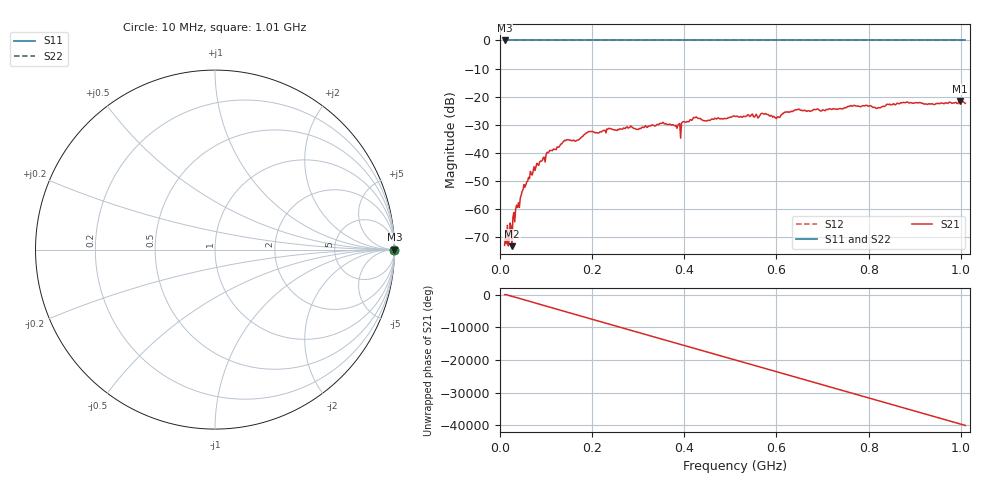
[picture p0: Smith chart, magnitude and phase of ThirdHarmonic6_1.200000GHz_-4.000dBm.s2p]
! 8/16/2025 12:24:41 PM
! C:\ANRITSUVNA\TEMP\TEMP.S2P
! CHANNEL.1
! TR.MEASUREMENT
! RAW.DATA
! RF.CORRECTION.OFF
! AVERAGING.OFF
! IF.BANDWIDTH: 5KHZ
! SWEEPTYPE:  FREQ.SWEEP(Linear)
! Reference Plane Port Info
! PORT:  PORT1  PORT2
! DISTANCE:  0  m  0  m
! TIME:  0  s  0  s
! PHASE.OFFSET:  0  deg.  0  deg.
! LOSS:  0  dB  0  dB
! REF.LOSS:  0  dB  0  dB
! REF.FREQ:  0  Hz  0  Hz
! Power Info
! POWER:  -20  dBm  -20  dBm
! EFF.POWER:  -20  dBm  -20  dBm
! SOURCE.ATTEN:  0  dB  0  dB
! TEST.ATTEN:  0  dB  0  dB
# GHZ S RI R 50.0
! FREQ.GHZ  S11RE  S11IM  S21RE  S21IM  S12RE  S12IM  S22RE  S22IM
!; PortSelection: Port_12
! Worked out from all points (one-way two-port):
!   501 points, 10 MHz to 1.01 GHz, reference 50 ohm
!   highest |S21| = -21.52 dB at 998 MHz (marker M1); lowest = -73.2 dB at 26 MHz (marker M2)
!   lowest |S11| = 0.0 dB at 10 MHz (marker M3)
!   |S11| at or under -10 dB: nowhere
!   |S22| runs from 0.0 to 0.0 dB; largest |S21 - S12| = 1.1
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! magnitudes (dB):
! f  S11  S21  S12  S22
! 10 MHz  0.0  -72.9  0.0  0.0
! 20 MHz  0.0  -70.5  0.0  0.0
! 22 MHz  0.0  -64.9  0.0  0.0
! 26 MHz  0.0  -73.2  0.0  0.0
! 48 MHz  0.0  -53.7  0.0  0.0
! 78 MHz  0.0  -45.0  0.0  0.0
! 104 MHz  0.0  -39.9  0.0  0.0
! 140 MHz  0.0  -35.5  0.0  0.0
! 178 MHz  0.0  -34.2  0.0  0.0
! 196 MHz  0.0  -32.4  0.0  0.0
! 344 MHz  0.0  -30.0  0.0  0.0
! 388 MHz  0.0  -29.8  0.0  0.0
! 424 MHz  0.0  -27.4  0.0  0.0
! 446 MHz  0.0  -28.6  0.0  0.0
! 510 MHz  0.0  -27.0  0.0  0.0
! 572 MHz  0.0  -26.1  0.0  0.0
! 602 MHz  0.0  -27.2  0.0  0.0
! 644 MHz  0.0  -24.6  0.0  0.0
! 678 MHz  0.0  -25.0  0.0  0.0
! 844 MHz  0.0  -22.8  0.0  0.0
! 998 MHz  0.0  -21.5  0.0  0.0
! 1.01 GHz  0.0  -22.4  0.0  0.0
